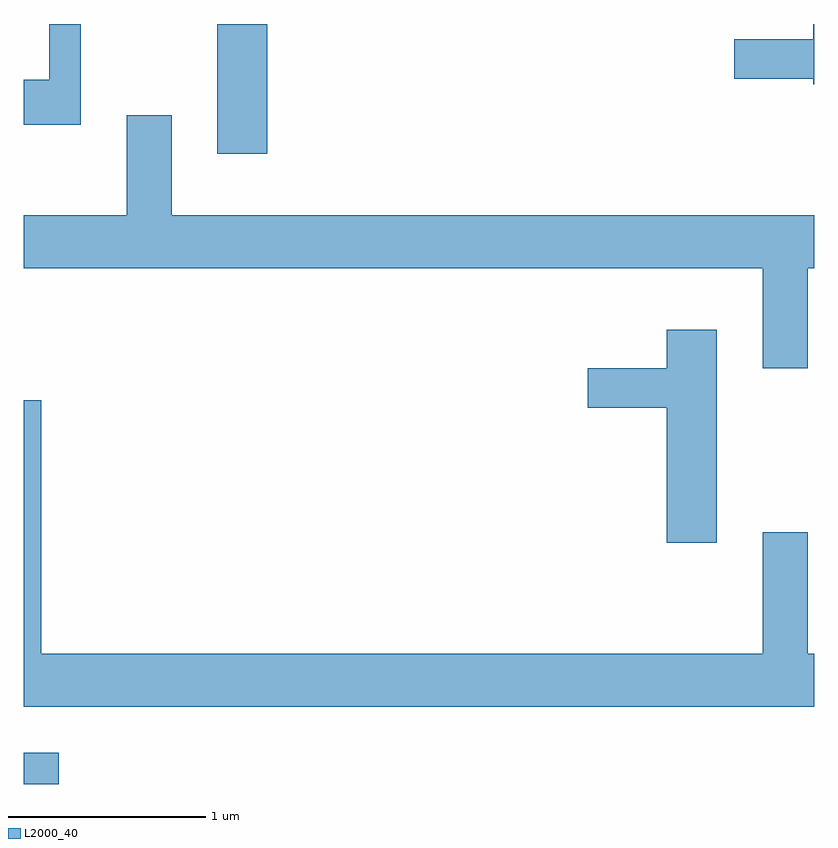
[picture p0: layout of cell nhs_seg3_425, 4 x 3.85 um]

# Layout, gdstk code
import gdstk
lib = gdstk.Library(unit=1e-6, precision=1e-09)
def R(c, l, rs):  # rectangles x0, y0, x1, y1
    for r in rs: c.add(gdstk.rectangle(r[:2], r[2:], *l))
def P(c, l, *ps):  # polygons
    for p in ps: c.add(gdstk.Polygon(p, *l))
L2000_40 = (2000, 40)

nhs_seg3_425 = lib.new_cell('nhs_seg3_425')
R(nhs_seg3_425, L2000_40, [(197.611,1150.046,197.788,1150.204), (198.591,1153.236,198.844,1153.892)])
P(nhs_seg3_425, L2000_40, [(197.899,1153.892),(197.741,1153.892),(197.741,1153.609),(197.611,1153.609),(197.611,1153.381),(197.899,1153.381)],
  [(201.611,1153.892),(201.606,1153.892),(201.606,1153.814),(201.206,1153.814),(201.206,1153.616),(201.606,1153.616),(201.606,1153.586),(201.611,1153.586)],
  [(201.579,1152.656),(201.611,1152.656),(201.611,1152.924),(198.359,1152.924),(198.359,1153.429),(198.131,1153.429),(198.131,1152.924),(197.611,1152.924),(197.611,1152.656),(201.351,1152.656),(201.351,1152.151),(201.579,1152.151)],
  [(201.119,1152.344),(200.866,1152.344),(200.866,1152.149),(200.466,1152.149),(200.466,1151.951),(200.866,1151.951),(200.866,1151.266),(201.119,1151.266)],
  [(201.611,1150.704),(201.579,1150.704),(201.579,1151.319),(201.351,1151.319),(201.351,1150.704),(197.699,1150.704),(197.699,1151.989),(197.611,1151.989),(197.611,1150.436),(201.611,1150.436)])

lib.write_gds('nhs_seg3_425.gds')
